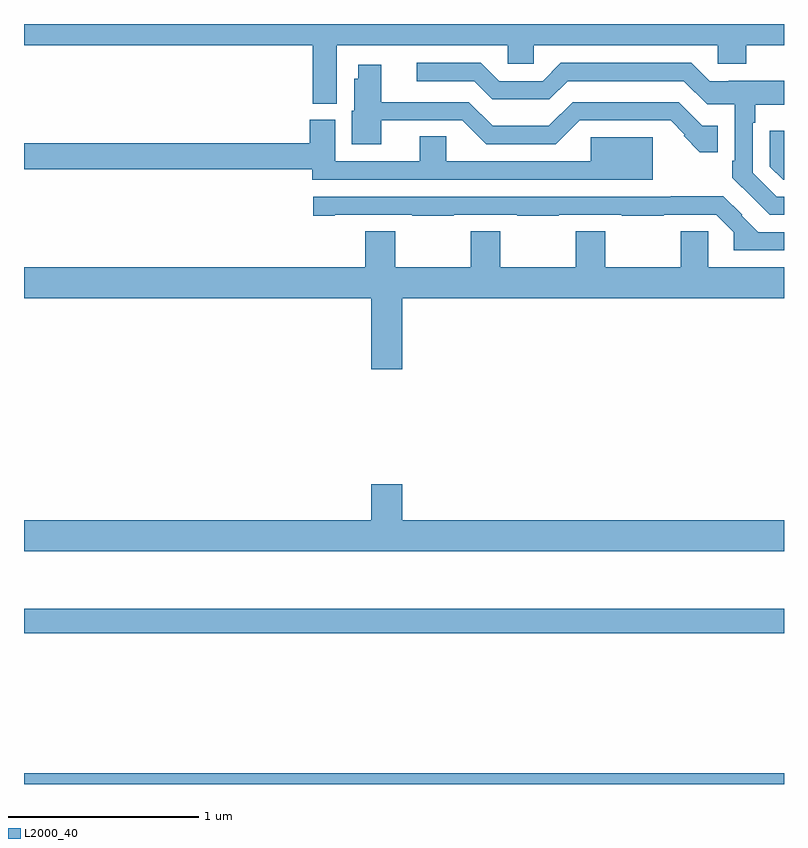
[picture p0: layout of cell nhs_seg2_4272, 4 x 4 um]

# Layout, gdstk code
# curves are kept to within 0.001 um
import gdstk
lib = gdstk.Library(unit=1e-6, precision=1e-09)
def R(c, l, rs):  # rectangles x0, y0, x1, y1
    for r in rs: c.add(gdstk.rectangle(r[:2], r[2:], *l))
def P(c, l, *ps):  # polygons
    for p in ps: c.add(gdstk.Polygon(p, *l))
L2000_40 = (2000, 40)

nhs_seg2_4272 = lib.new_cell('nhs_seg2_4272')
R(nhs_seg2_4272, L2000_40, [(343,591.8,347,591.856), (343,592.594,347,592.723)])
P(nhs_seg2_4272, L2000_40, [(344.647,595.688),(345.546,595.688),(345.546,595.59),(345.684,595.59),(345.684,595.688),(346.65,595.688),(346.65,595.59),(346.802,595.59),(346.802,595.688),(347,595.688),(347,595.8),(343,595.8),(343,595.688),(344.519,595.688),(344.519,595.381),(344.647,595.381)],
  [(347,594.891),(346.962,594.891),(346.836,595.017),(346.836,595.28),(346.849,595.28),(346.849,595.376),(347,595.376),(347,595.501),(346.609,595.5),(346.513,595.596),(345.825,595.596),(345.729,595.5),(345.501,595.5),(345.405,595.596),(345.066,595.596),(345.066,595.5),(345.369,595.5),(345.465,595.404),(345.765,595.404),(345.861,595.5),(346.473,595.5),(346.596,595.377),(346.74,595.377),(346.74,595.081),(346.728,595.081),(346.728,594.991),(346.925,594.795),(347,594.795)],
  [(346.65,595.264),(346.571,595.264),(346.446,595.389),(345.888,595.389),(345.763,595.264),(345.467,595.264),(345.342,595.389),(344.881,595.389),(344.881,595.585),(344.759,595.585),(344.759,595.512),(344.738,595.512),(344.738,595.344),(344.726,595.344),(344.726,595.166),(344.881,595.166),(344.881,595.293),(345.306,595.293),(345.432,595.167),(345.798,595.167),(345.924,595.293),(346.403,595.293),(346.478,595.217),(346.472,595.211),(346.557,595.126),(346.65,595.126)],
  [(346.309,595.204),(345.984,595.204),(345.984,595.077),(345.223,595.077),(345.223,595.208),(345.083,595.208),(345.083,595.077),(344.638,595.077),(344.638,595.296),(344.504,595.296),(344.504,595.172),(343,595.172),(343,595.036),(344.516,595.036),(344.516,594.981),(346.087,594.981),(346.087,594.98),(346.309,594.98)],
  [(347,595.237),(346.926,595.237),(346.926,595.05),(346.995,594.981),(347,594.981)],
  [(347,594.705),(346.864,594.705),(346.777,594.792),(346.779,594.795),(346.68,594.894),(346.405,594.894),(346.405,594.891),(344.523,594.891),(344.523,594.79),(344.635,594.79),(344.635,594.795),(345.043,594.795),(345.043,594.79),(345.263,594.79),(345.263,594.795),(345.595,594.795),(345.595,594.79),(345.815,594.79),(345.815,594.795),(346.147,594.795),(346.147,594.79),(346.367,594.79),(346.367,594.795),(346.644,594.795),(346.735,594.705),(346.735,594.609),(347,594.609)],
  [(344.992,594.356),(347,594.356),(347,594.52),(346.602,594.52),(346.602,594.71),(346.456,594.71),(346.456,594.52),(346.059,594.52),(346.059,594.71),(345.904,594.71),(345.904,594.52),(345.507,594.52),(345.507,594.71),(345.352,594.71),(345.352,594.52),(344.955,594.52),(344.955,594.71),(344.795,594.71),(344.795,594.52),(343,594.52),(343,594.356),(344.828,594.356),(344.828,593.982),(344.992,593.982)],
  [(347,593.188),(344.992,593.188),(344.992,593.377),(344.828,593.377),(344.828,593.188),(343,593.188),(343,593.024),(347,593.024)])

lib.write_gds('nhs_seg2_4272.gds')
